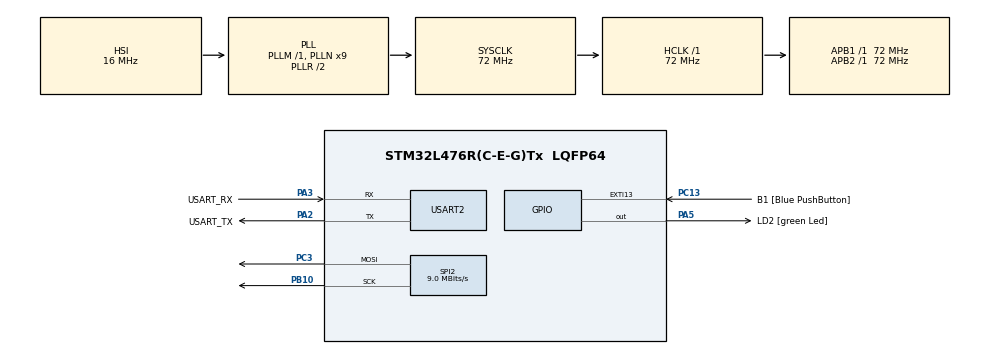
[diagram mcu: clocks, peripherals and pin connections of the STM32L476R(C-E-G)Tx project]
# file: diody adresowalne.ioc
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Mcu.Family=STM32L4
Mcu.Name=STM32L476R(C-E-G)Tx
Mcu.Package=LQFP64
NVIC.EXTI15_10_IRQn=true\:0\:0\:false\:false\:true\:true\:true\:true
NVIC.PriorityGroup=NVIC_PRIORITYGROUP_4
PA13\ (JTMS-SWDIO).GPIO_Label=TMS
PA13\ (JTMS-SWDIO).Mode=Serial_Wire
PA13\ (JTMS-SWDIO).Signal=SYS_JTMS-SWDIO
PA14\ (JTCK-SWCLK).GPIO_Label=TCK
PA14\ (JTCK-SWCLK).Mode=Serial_Wire
PA14\ (JTCK-SWCLK).Signal=SYS_JTCK-SWCLK
PA2.GPIO_Label=USART_TX
PA2.GPIO_Mode=GPIO_MODE_AF_PP
PA2.GPIO_PuPd=GPIO_NOPULL
PA2.GPIO_Speed=GPIO_SPEED_FREQ_VERY_HIGH
PA2.Mode=Asynchronous
PA2.Signal=USART2_TX
PA3.GPIO_Label=USART_RX
PA3.GPIO_Mode=GPIO_MODE_AF_PP
PA3.GPIO_PuPd=GPIO_NOPULL
PA3.GPIO_Speed=GPIO_SPEED_FREQ_VERY_HIGH
PA3.Mode=Asynchronous
PA3.Signal=USART2_RX
PA5.GPIO_Label=LD2 [green Led]
PA5.GPIO_ModeDefaultOutputPP=GPIO_MODE_OUTPUT_PP
PA5.GPIO_PuPd=GPIO_NOPULL
PA5.GPIO_Speed=GPIO_SPEED_FREQ_LOW
PA5.Signal=GPIO_Output
PB10.Mode=TX_Only_Simplex_Unidirect_Master
PB10.Signal=SPI2_SCK
PB3\ (JTDO-TRACESWO).GPIO_Label=SWO
PB3\ (JTDO-TRACESWO).Signal=SYS_JTDO-SWO
PC13.GPIO_Label=B1 [Blue PushButton]
PC13.GPIO_ModeDefaultEXTI=GPIO_MODE_IT_FALLING
PC13.GPIO_PuPd=GPIO_PULLUP
PC13.Signal=GPXTI13
PC14-OSC32_IN\ (PC14).Mode=LSE-External-Oscillator
PC14-OSC32_IN\ (PC14).Signal=RCC_OSC32_IN
PC15-OSC32_OUT\ (PC15).Mode=LSE-External-Oscillator
PC15-OSC32_OUT\ (PC15).Signal=RCC_OSC32_OUT
PC3.GPIO_PuPd=GPIO_PULLDOWN
PC3.Mode=TX_Only_Simplex_Unidirect_Master
PC3.Signal=SPI2_MOSI
PH0-OSC_IN\ (PH0).Signal=RCC_OSC_IN
PH1-OSC_OUT\ (PH1).Signal=RCC_OSC_OUT
ProjectManager.HeapSize=0x200
ProjectManager.StackSize=0x400
ProjectManager.TargetToolchain=STM32CubeIDE
RCC.ADCFreq_Value=64000000
RCC.AHBFreq_Value=72000000
RCC.APB1Freq_Value=72000000
RCC.APB1TimFreq_Value=72000000
RCC.APB2Freq_Value=72000000
RCC.APB2TimFreq_Value=72000000
RCC.CortexFreq_Value=72000000
RCC.HCLKFreq_Value=72000000
RCC.HSE_VALUE=8000000
RCC.HSI_VALUE=16000000
RCC.MSI_VALUE=4000000
RCC.PLLN=9
RCC.PLLSourceVirtual=RCC_PLLSOURCE_HSI
RCC.PREFETCH_ENABLE=1
RCC.SYSCLKFreq_VALUE=72000000
RCC.SYSCLKSource=RCC_SYSCLKSOURCE_PLLCLK
RCC.USBFreq_Value=64000000
RCC.VCOOutputFreq_Value=144000000
SPI2.BaudRatePrescaler=SPI_BAUDRATEPRESCALER_8
SPI2.CLKPolarity=SPI_POLARITY_HIGH
SPI2.CalculateBaudRate=9.0 MBits/s
SPI2.DataSize=SPI_DATASIZE_8BIT
SPI2.Direction=SPI_DIRECTION_2LINES
SPI2.FirstBit=SPI_FIRSTBIT_LSB
SPI2.Mode=SPI_MODE_MASTER
SPI2.VirtualType=VM_MASTER
USART2.VirtualMode-Asynchronous=VM_ASYNC
board=NUCLEO-L476RG

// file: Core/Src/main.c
/* USER CODE BEGIN Header */
/**
  ******************************************************************************
  * @file           : main.c
  * @brief          : Main program body
  ******************************************************************************
  * @attention
  *
  * Copyright (c) 2022 STMicroelectronics.
  * All rights reserved.
  *
  * This software is licensed under terms that can be found in the LICENSE file
  * in the root directory of this software component.
  * If no LICENSE file comes with this software, it is provided AS-IS.
  *
  ******************************************************************************
  */
/* USER CODE END Header */
#include "main.h"
#include "spi.h"
#include "usart.h"
#include "gpio.h"

/* USER CODE BEGIN Includes */
#include <stdio.h>
#include <string.h>

/* USER CODE END Includes */

/* USER CODE BEGIN PD */
#define ZERO 0b11000000
#define ONE 0b11111000

#define MAX_LED_NUMBER 6
#define GREEN 0
#define RED 255
#define BLUE 0

/* USER CODE END PD */

/* USER CODE BEGIN PV */
uint8_t buff[72];
uint8_t reset_buffer[48];
RGB_color single_color;
uint8_t switch_mode=1;
/* USER CODE END PV */

void SystemClock_Config(void);

int main(void)
{
  /* USER CODE BEGIN 1 */

	for(int i=0;i<72;i++)
		{
			buff[i]=0;
		}
	for(int i=0;i<49;i++)
	{
		reset_buffer[i]=0;
	}
  /* USER CODE END 1 */

  /* MCU Configuration--------------------------------------------------------*/

  /* Reset of all peripherals, Initializes the Flash interface and the Systick. */
  HAL_Init();

  /* Configure the system clock */
  SystemClock_Config();

  /* Initialize all configured peripherals */
  MX_GPIO_Init();
  MX_USART2_UART_Init();
  MX_SPI2_Init();
  /* USER CODE BEGIN 2 */
  single_color.blue=2;
  single_color.green=0;
  single_color.red=5;

  HAL_SPI_Init(&hspi2);

  Load_Color_Into_Buffer(single_color,&buff[0]);
  //Set_One_Color(single_color);
  /* USER CODE END 2 */

  /* Infinite loop */
  while (1)
  {

    /* USER CODE BEGIN 3 */
	 // Set_One_Color(single_color);
	 // Set_LED_Queue(single_color,1);

	  if(switch_mode==0){
		  Set_One_Color(single_color);
	  }
	  else if(switch_mode==1){
		  Set_LED_Queue(single_color,1);

	  }

	  else if(switch_mode==2){
		  Reset_LED_color();
	  }
	  else if(switch_mode==3){
		  single_color.red=single_color.red+10;
		  Load_Color_Into_Buffer(single_color,&buff[0]);
		  Set_One_Color(single_color);
	  }
	  else if(switch_mode==4){
		  single_color.green=single_color.green+10;
		  Load_Color_Into_Buffer(single_color,&buff[0]);
		  Set_One_Color(single_color);
	  }
	  else if(switch_mode==5){
	 	  single_color.blue=single_color.blue+10;
	 	   Load_Color_Into_Buffer(single_color,&buff[0]);
	 	   Set_One_Color(single_color);
	  }

	  	HAL_Delay(500);

  }

  /* USER CODE END 3 */
}

void SystemClock_Config(void)
{
  RCC_OscInitTypeDef RCC_OscInitStruct = {0};
  RCC_ClkInitTypeDef RCC_ClkInitStruct = {0};

  /** Configure the main internal regulator output voltage
  */
  if (HAL_PWREx_ControlVoltageScaling(PWR_REGULATOR_VOLTAGE_SCALE1) != HAL_OK)
  {
    Error_Handler();
  }

  /** Initializes the RCC Oscillators according to the specified parameters
  * in the RCC_OscInitTypeDef structure.
  */
  RCC_OscInitStruct.OscillatorType = RCC_OSCILLATORTYPE_HSI;
  RCC_OscInitStruct.HSIState = RCC_HSI_ON;
  RCC_OscInitStruct.HSICalibrationValue = RCC_HSICALIBRATION_DEFAULT;
  RCC_OscInitStruct.PLL.PLLState = RCC_PLL_ON;
  RCC_OscInitStruct.PLL.PLLSource = RCC_PLLSOURCE_HSI;
  RCC_OscInitStruct.PLL.PLLM = 1;
  RCC_OscInitStruct.PLL.PLLN = 9;
  RCC_OscInitStruct.PLL.PLLP = RCC_PLLP_DIV7;
  RCC_OscInitStruct.PLL.PLLQ = RCC_PLLQ_DIV2;
  RCC_OscInitStruct.PLL.PLLR = RCC_PLLR_DIV2;
  if (HAL_RCC_OscConfig(&RCC_OscInitStruct) != HAL_OK)
  {
    Error_Handler();
  }

  /** Initializes the CPU, AHB and APB buses clocks
  */
  RCC_ClkInitStruct.ClockType = RCC_CLOCKTYPE_HCLK|RCC_CLOCKTYPE_SYSCLK
                              |RCC_CLOCKTYPE_PCLK1|RCC_CLOCKTYPE_PCLK2;
  RCC_ClkInitStruct.SYSCLKSource = RCC_SYSCLKSOURCE_PLLCLK;
  RCC_ClkInitStruct.AHBCLKDivider = RCC_SYSCLK_DIV1;
  RCC_ClkInitStruct.APB1CLKDivider = RCC_HCLK_DIV1;
  RCC_ClkInitStruct.APB2CLKDivider = RCC_HCLK_DIV1;

  if (HAL_RCC_ClockConfig(&RCC_ClkInitStruct, FLASH_LATENCY_4) != HAL_OK)
  {
    Error_Handler();
  }
}

/* USER CODE BEGIN 4 */
void Blink_LED()
{
	HAL_GPIO_WritePin(GPIOA, GPIO_PIN_5, 0);
	HAL_Delay(500);
	HAL_GPIO_WritePin(GPIOA, GPIO_PIN_5, 1);
	HAL_Delay(500);
}
void Send_Reset()
{
	for(int i=0;i<49;i++)
		{
			reset_buffer[i]=0;
		}
	HAL_SPI_Transmit(&hspi2, &reset_buffer[0], 48, 1000);
}
void Set_One_Color(RGB_color color)
{

	for(int i=0;i<MAX_LED_NUMBER;i++)
		  	{
			  HAL_SPI_Transmit(&hspi2, &buff[0], 36, 1000);
		  	}
			Send_Reset();
		  //HAL_SPI_Transmit(&hspi2, &reset_buffer[0], 48, 1000);

}
void Set_LED_Queue(RGB_color color, uint8_t mode)
{
	uint8_t current_LED=0;
	while(current_LED<=MAX_LED_NUMBER){
		for(int i=0;i<current_LED;i++)
			  	{
				  HAL_SPI_Transmit(&hspi2, &buff[0], 28, 1000);

			  	}
		current_LED++;
		HAL_Delay(500);

		Send_Reset();

}
	 Reset_LED_color();
}
void Reset_LED_color()
{	RGB_color c;
	c.red=0;
	c.green=0;
	c.blue=0;

	Load_Color_Into_Buffer(c,&reset_buffer[0]);
	for(int i=0;i<MAX_LED_NUMBER;i++)
			  	{
				  HAL_SPI_Transmit(&hspi2, &reset_buffer[0], 28, 1000);
			  	}
	Send_Reset();

}
void Load_Color_Into_Buffer(RGB_color setcolor, uint8_t *buffer)
{
		uint8_t color_t;
		uint8_t color[3];
		uint8_t k=0;

		color[0]=setcolor.green;
		color[1]=setcolor.red;
		color[2]=setcolor.blue;
		for(uint8_t i = 0; i < 3; i++){
			color_t=color[i];
			for(uint8_t j = 0; j < 8; j++)
			{
				if(color_t&0b10000000)
				{buffer[k]=ONE;
				}
				else
				{
					buffer[k]=ZERO;
				}
				k++;
				color_t=color_t<<1;
			}
		}
}
void HAL_GPIO_EXTI_Callback(uint16_t GPIO_Pin)
{
	if(GPIO_Pin==GPIO_PIN_13){
		switch_mode++;
		//HAL_GPIO_TogglePin(GPIOA, GPIO_PIN_5);
		if(switch_mode>5){switch_mode=0;}

	}
}

/* USER CODE END 4 */

void Error_Handler(void)
{
  __disable_irq();
  while (1)
  {
  }
}
